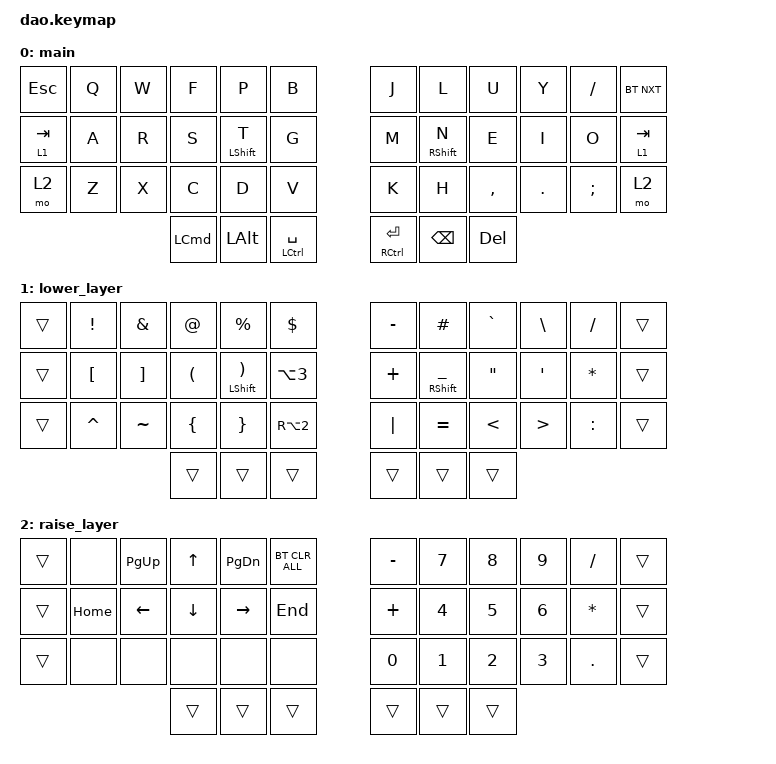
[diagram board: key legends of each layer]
/*
 * Copyright (c) 2021 Rafael Yumagulov
 *
 * SPDX-License-Identifier: MIT
 */

#include <behaviors.dtsi>
#include <dt-bindings/zmk/bt.h>
#include <dt-bindings/zmk/keys.h>

#define DEF 0
#define LWR 1
#define RSE 2
#define ADJ 3

&lt { quick_tap_ms = <200>; };

&mt {
    quick_tap_ms = <200>;
    flavor = "tap-preferred";
};

/ {
    chosen {
        zmk,matrix_transform = &default_transform;

        // zmk,matrix_transform = &extra_keys_transform;
    };
};

/ {
    behaviors {
        mtholdpref: mtholdpref {
            compatible = "zmk,behavior-hold-tap";
            label = "MTHOLDPREF";
            bindings = <&kp>, <&kp>;

            #binding-cells = <2>;
            tapping-term-ms = <200>;
        };
    };

    keymap {
        compatible = "zmk,keymap";

        main {
            bindings = <
&kp ESCAPE  &kp Q  &kp W  &kp F             &kp P             &kp B                           &kp J                            &kp L              &kp U       &kp Y    &kp SLASH      &bt BT_NXT
&lt 1 TAB   &kp A  &kp R  &kp S             &mt LEFT_SHIFT T  &kp G                           &kp M                            &mt RIGHT_SHIFT N  &kp E       &kp I    &kp O          &lt 1 TAB
&mo 2       &kp Z  &kp X  &kp C             &kp D             &kp V                           &kp K                            &kp H              &kp COMMA   &kp DOT  &kp SEMICOLON  &mo 2
                          &kp LEFT_COMMAND  &kp LEFT_ALT      &mtholdpref LEFT_CONTROL SPACE  &mtholdpref RIGHT_CONTROL ENTER  &kp BACKSPACE      &kp DELETE
            >;
        };

        lower_layer {
            bindings = <
&trans  &kp EXCLAMATION   &kp AMPERSAND      &kp AT_SIGN           &kp PERCENT                       &kp DOLLAR        &kp MINUS  &kp HASH               &kp GRAVE          &kp BACKSLASH     &kp SLASH  &trans
&trans  &kp LEFT_BRACKET  &kp RIGHT_BRACKET  &kp LEFT_PARENTHESIS  &mt LEFT_SHIFT RIGHT_PARENTHESIS  &kp LA(NUMBER_3)  &kp PLUS   &mt RIGHT_SHIFT UNDER  &kp DOUBLE_QUOTES  &kp SQT           &kp STAR   &trans
&trans  &kp CARET         &kp TILDE          &kp LEFT_BRACE        &kp RIGHT_BRACE                   &kp RA(NUMBER_2)  &kp PIPE   &kp EQUAL              &kp LESS_THAN      &kp GREATER_THAN  &kp COLON  &trans
                                             &trans                &trans                            &trans            &trans     &trans                 &trans
            >;
        };

        raise_layer {
            bindings = <
&trans  &none     &kp PAGE_UP     &kp UP_ARROW  &kp PAGE_DOWN  &bt BT_CLR_ALL  &kp MINUS  &kp N7        &kp N8        &kp N9        &kp SLASH   &trans
&trans  &kp HOME  &kp LEFT_ARROW  &kp DOWN      &kp RIGHT      &kp END         &kp PLUS   &kp NUMBER_4  &kp NUMBER_5  &kp NUMBER_6  &kp STAR    &trans
&trans  &none     &none           &none         &none          &none           &kp N0     &kp NUMBER_1  &kp NUMBER_2  &kp NUMBER_3  &kp PERIOD  &trans
                                  &trans        &trans         &trans          &trans     &trans        &trans
            >;
        };
    };
};
